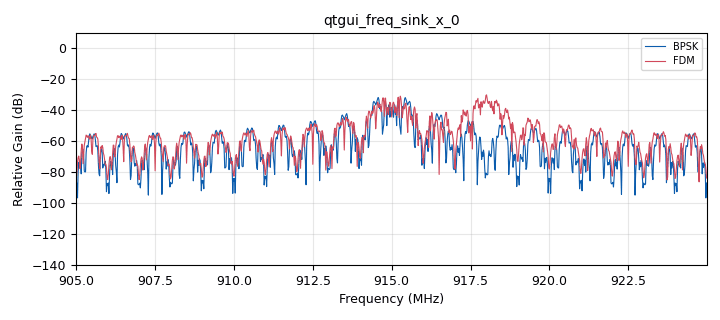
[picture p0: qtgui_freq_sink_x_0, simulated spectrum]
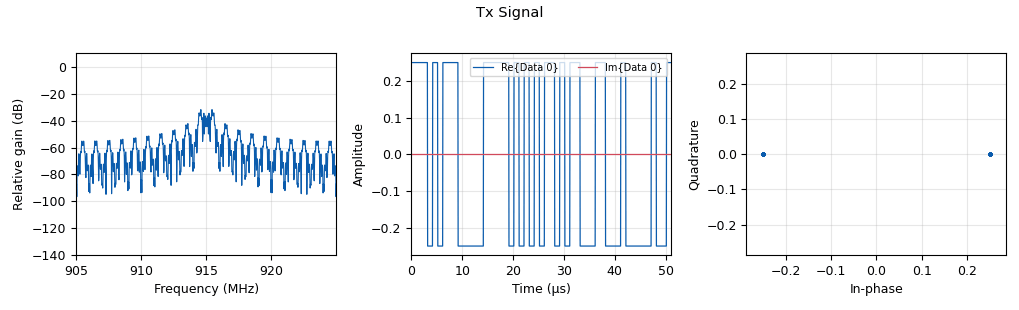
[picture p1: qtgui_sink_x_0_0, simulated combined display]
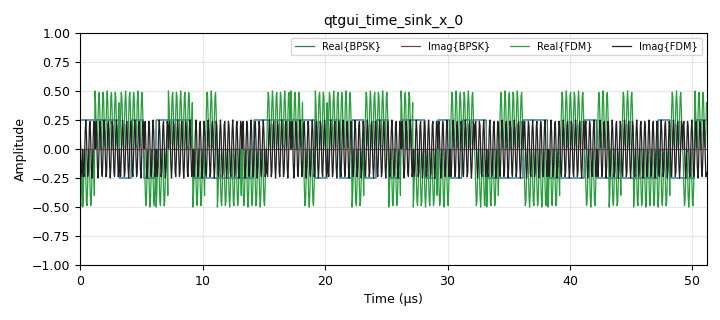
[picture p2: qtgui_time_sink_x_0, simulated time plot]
options:
  parameters:
    author: ucanlab
    generate_options: qt_gui
    id: SDR_Hardware_03
    output_language: python
    title: 'GR Tutorial: USRPs'
  states: {}

blocks:
- name: IF1
  id: variable_qtgui_range
  parameters:
    gui_hint: 0,3,1,1
    label: Intermediate Frequency 1
    start: '-5000000'
    step: '1000000'
    stop: '5000000'
    value: '0'
  states: {}
- name: IF2
  id: variable_qtgui_range
  parameters:
    gui_hint: 1,3,1,1
    label: Intermediate Frequency 2
    start: '-5000000'
    step: '1000000'
    stop: '5000000'
    value: '3000000'
  states: {}
- name: Rx_Gain
  id: variable_qtgui_range
  parameters:
    gui_hint: 1,2,1,1
    label: Rx gain
    rangeType: int
    start: '10'
    step: '5'
    stop: '70'
    value: '40'
  states: {}
- name: Tx_Gain
  id: variable_qtgui_range
  parameters:
    gui_hint: 0,2,1,1
    label: Tx gain
    rangeType: int
    start: '10'
    step: '5'
    stop: '70'
    value: '40'
  states: {}
- name: fc_rx
  id: variable_qtgui_range
  parameters:
    gui_hint: 1,1,1,1
    label: Center Frequency - Rx
    start: '910000000'
    step: '1000000'
    stop: '920000000'
    value: '915000000'
  states: {}
- name: fc_tx
  id: variable_qtgui_range
  parameters:
    gui_hint: 0,1,1,1
    label: Center Frequency - Tx
    start: '912000000'
    step: '1000000'
    stop: '918000000'
    value: '915000000'
  states: {}
- name: interp
  id: variable
  parameters:
    value: int(samp_rate/sig_freq)
  states: {}
- name: path_select
  id: variable_qtgui_chooser
  parameters:
    gui_hint: 0,0,1,1
    label: Source Signal
    label0: Single BPSK
    label1: 2 BPSK w/ FDM
    num_opts: '2'
    option0: '0'
    option1: '1'
    type: int
    value: '0'
  states: {}
- name: samp_rate
  id: variable
  parameters:
    value: '20000000'
  states: {}
- name: scale
  id: variable
  parameters:
    value: '0.5'
  states: {}
- name: sig_freq
  id: variable_qtgui_chooser
  parameters:
    gui_hint: 1,0,1,1
    label: Signal Frequency
    label0: 1MHz
    label1: 2MHz
    label2: 4MHz
    label3: 5MHz
    num_opts: '4'
    option0: '1000000'
    option1: '2000000'
    option2: '4000000'
    option3: '5000000'
    type: int
    value: '1000000'
  states: {}
- name: analog_random_source_x_0
  id: analog_random_source_x
  parameters:
    max: '2'
    min: '0'
    num_samps: '1000'
    repeat: 'True'
    type: int
  states: {}
- name: analog_random_source_x_0_0
  id: analog_random_source_x
  parameters:
    max: '2'
    min: '0'
    num_samps: '1000'
    repeat: 'True'
    type: int
  states: {}
- name: analog_random_source_x_0_0_0
  id: analog_random_source_x
  parameters:
    max: '2'
    min: '0'
    num_samps: '1000'
    repeat: 'True'
    type: int
  states: {}
- name: analog_sig_source_x_2
  id: analog_sig_source_x
  parameters:
    amp: '1'
    freq: IF2
    offset: '0'
    phase: '0'
    samp_rate: samp_rate
    type: complex
    waveform: analog.GR_COS_WAVE
  states: {}
- name: analog_sig_source_x_2_0
  id: analog_sig_source_x
  parameters:
    amp: '1'
    freq: IF1
    offset: '0'
    phase: '0'
    samp_rate: samp_rate
    type: complex
    waveform: analog.GR_COS_WAVE
  states: {}
- name: blocks_add_xx_0
  id: blocks_add_xx
  parameters:
    type: complex
  states: {}
- name: blocks_multiply_xx_0
  id: blocks_multiply_xx
  parameters:
    type: complex
  states: {}
- name: blocks_multiply_xx_0_0
  id: blocks_multiply_xx
  parameters:
    type: complex
  states: {}
- name: blocks_repeat_0_0_1
  id: blocks_repeat
  parameters:
    interp: interp
    type: complex
  states: {}
- name: blocks_repeat_0_0_1_0
  id: blocks_repeat
  parameters:
    interp: interp
    type: complex
  states: {}
- name: blocks_repeat_0_0_1_0_0
  id: blocks_repeat
  parameters:
    interp: interp
    type: complex
  states: {}
- name: blocks_selector_0
  id: blocks_selector
  parameters:
    enabled: 'True'
    input_index: path_select
    num_inputs: '2'
    num_outputs: '1'
    output_index: '0'
    type: complex
  states: {}
- name: digital_chunks_to_symbols_xx_0
  id: digital_chunks_to_symbols_xx
  parameters:
    dimension: '1'
    in_type: int
    out_type: complex
    symbol_table: '[-scale/2,scale/2]'
  states: {}
- name: digital_chunks_to_symbols_xx_0_0
  id: digital_chunks_to_symbols_xx
  parameters:
    dimension: '1'
    in_type: int
    out_type: complex
    symbol_table: '[-scale/2,scale/2]'
  states: {}
- name: digital_chunks_to_symbols_xx_0_0_0
  id: digital_chunks_to_symbols_xx
  parameters:
    dimension: '1'
    in_type: int
    out_type: complex
    symbol_table: '[-scale/2,scale/2]'
  states: {}
- name: note_0_0
  id: note
  parameters:
    note: BPSK
  states: {}
- name: note_0_0_0
  id: note
  parameters:
    note: FDM
  states: {}
- name: note_1_0
  id: note
  parameters:
    note: Transmitter
  states: {}
- name: note_1_0_0
  id: note
  parameters:
    note: Receiver
  states: {}
- name: qtgui_freq_sink_x_0
  id: qtgui_freq_sink_x
  parameters:
    bw: samp_rate
    fc: fc_tx
    fftsize: '1024'
    gui_hint: 3,2,1,2
    label1: BPSK
    label2: FDM
    nconnections: '2'
    type: complex
  states: {}
- name: qtgui_sink_x_0
  id: qtgui_sink_x
  parameters:
    bw: samp_rate
    fc: fc_rx
    fftsize: '1024'
    gui_hint: 2,2,1,2
    name: '"Rx Signal"'
    showrf: 'True'
    type: complex
  states: {}
- name: qtgui_sink_x_0_0
  id: qtgui_sink_x
  parameters:
    bw: samp_rate
    fc: fc_tx
    fftsize: '1024'
    gui_hint: 2,0,1,2
    name: '"Tx Signal"'
    showrf: 'True'
    type: complex
  states: {}
- name: qtgui_time_sink_x_0
  id: qtgui_time_sink_x
  parameters:
    gui_hint: 3,0,1,2
    label1: Real{BPSK}
    label2: Imag{BPSK}
    label3: Real{FDM}
    label4: Imag{FDM}
    nconnections: '2'
    size: '1024'
    srate: samp_rate
    type: complex
  states: {}
- name: rx_addr
  id: parameter
  parameters:
    label: RX Address
    short_id: r
    type: str
    value: '3279500'
  states: {}
- name: tx_addr
  id: parameter
  parameters:
    label: TX Address
    short_id: t
    type: str
    value: '3279417'
  states: {}
- name: uhd_usrp_sink_0
  id: uhd_usrp_sink
  parameters:
    ant0: TX/RX
    center_freq0: fc_tx
    dev_addr: '"serial=" + tx_addr'
    dev_args: '""'
    gain0: Tx_Gain
    len_tag_name: ''
    samp_rate: samp_rate
    sync: none
    type: fc32
  states: {}
- name: uhd_usrp_source_0
  id: uhd_usrp_source
  parameters:
    ant0: RX2
    center_freq0: fc_rx
    dev_addr: '"serial=" + rx_addr'
    dev_args: '""'
    gain0: Rx_Gain
    samp_rate: samp_rate
    sync: none
    type: fc32
  states: {}
- name: virtual_sink_0
  id: virtual_sink
  parameters:
    stream_id: TxSignal_BPSK
  states: {}
- name: virtual_sink_0_0_0_0
  id: virtual_sink
  parameters:
    stream_id: TxSignal_FDM
  states: {}
- name: virtual_source_0
  id: virtual_source
  parameters:
    stream_id: TxSignal_BPSK
  states: {}
- name: virtual_source_0_0
  id: virtual_source
  parameters:
    stream_id: TxSignal_FDM
  states: {}
- name: virtual_source_0_0_0
  id: virtual_source
  parameters:
    stream_id: TxSignal_FDM
  states: {}
- name: virtual_source_0_1
  id: virtual_source
  parameters:
    stream_id: TxSignal_BPSK
  states: {}

connections:
- [analog_random_source_x_0, '0', digital_chunks_to_symbols_xx_0, '0']
- [analog_random_source_x_0_0, '0', digital_chunks_to_symbols_xx_0_0, '0']
- [analog_random_source_x_0_0_0, '0', digital_chunks_to_symbols_xx_0_0_0, '0']
- [analog_sig_source_x_2, '0', blocks_multiply_xx_0, '1']
- [analog_sig_source_x_2_0, '0', blocks_multiply_xx_0_0, '1']
- [blocks_add_xx_0, '0', virtual_sink_0_0_0_0, '0']
- [blocks_multiply_xx_0, '0', blocks_add_xx_0, '1']
- [blocks_multiply_xx_0_0, '0', blocks_add_xx_0, '0']
- [blocks_repeat_0_0_1, '0', virtual_sink_0, '0']
- [blocks_repeat_0_0_1_0, '0', blocks_multiply_xx_0_0, '0']
- [blocks_repeat_0_0_1_0_0, '0', blocks_multiply_xx_0, '0']
- [blocks_selector_0, '0', qtgui_sink_x_0_0, '0']
- [blocks_selector_0, '0', uhd_usrp_sink_0, '0']
- [digital_chunks_to_symbols_xx_0, '0', blocks_repeat_0_0_1, '0']
- [digital_chunks_to_symbols_xx_0_0, '0', blocks_repeat_0_0_1_0, '0']
- [digital_chunks_to_symbols_xx_0_0_0, '0', blocks_repeat_0_0_1_0_0, '0']
- [uhd_usrp_source_0, '0', qtgui_sink_x_0, '0']
- [virtual_source_0, '0', blocks_selector_0, '0']
- [virtual_source_0_0, '0', blocks_selector_0, '1']
- [virtual_source_0_0_0, '0', qtgui_freq_sink_x_0, '1']
- [virtual_source_0_0_0, '0', qtgui_time_sink_x_0, '1']
- [virtual_source_0_1, '0', qtgui_freq_sink_x_0, '0']
- [virtual_source_0_1, '0', qtgui_time_sink_x_0, '0']

metadata:
  file_format: 1
  grc_version: 3.10.9.2
